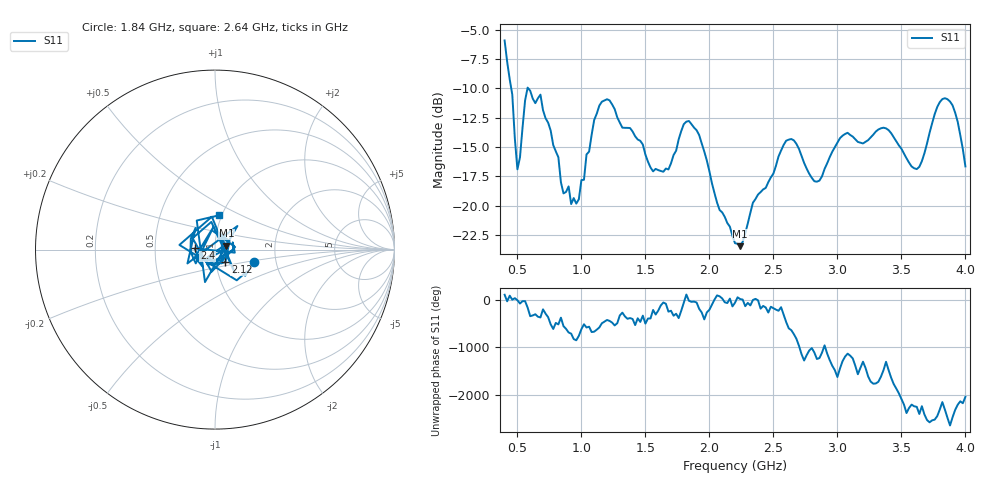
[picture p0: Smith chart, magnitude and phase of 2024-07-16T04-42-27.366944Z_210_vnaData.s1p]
!Created with skrf (http://scikit-rf.org).
# Hz S RI R 50.0
!freq ReS11 ImS11
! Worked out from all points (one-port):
!   181 points, 400 MHz to 4 GHz, reference 50 ohm
!   lowest |S11| = -23.4 dB at 2.24 GHz (marker M1), VSWR 1.14, Z = 56.7 + j2.45 ohm
!   |S11| at or under -10 dB: 451.8 MHz to 578.8 MHz (127.1 MHz wide, 24.7 % of centre); 584.8 MHz to end of sweep
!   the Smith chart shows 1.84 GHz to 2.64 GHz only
!   S11 on the Smith chart (normalised r, x): 1.84 GHz: 1.54, -0.23; 2.12 GHz: 1.11, -0.15; 2.4 GHz: 0.80, +0.01; 2.64 GHz: 0.97, +0.39
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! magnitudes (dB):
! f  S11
! 400 MHz  -5.9
! 460 MHz  -10.5
! 500 MHz  -16.9
! 580 MHz  -9.9
! 680 MHz  -10.5
! 860 MHz  -19.0
! 980 MHz  -19.4
! 1.1 GHz  -12.7
! 1.16 GHz  -11.1
! 1.3 GHz  -12.9
! 1.56 GHz  -17.1
! 1.68 GHz  -16.9
! 1.76 GHz  -14.3
! 1.84 GHz  -12.8
! 2.12 GHz  -20.9
! 2.2 GHz  -23.2
! 2.24 GHz  -23.4
! 2.4 GHz  -18.8
! 2.64 GHz  -14.3
! 2.66 GHz  -14.4
! 2.84 GHz  -18.0
! 3.1 GHz  -14.0
! 3.38 GHz  -13.4
! 3.56 GHz  -16.3
! 3.64 GHz  -16.7
! 3.84 GHz  -10.8
! 3.92 GHz  -12.1
! 4 GHz  -16.7
